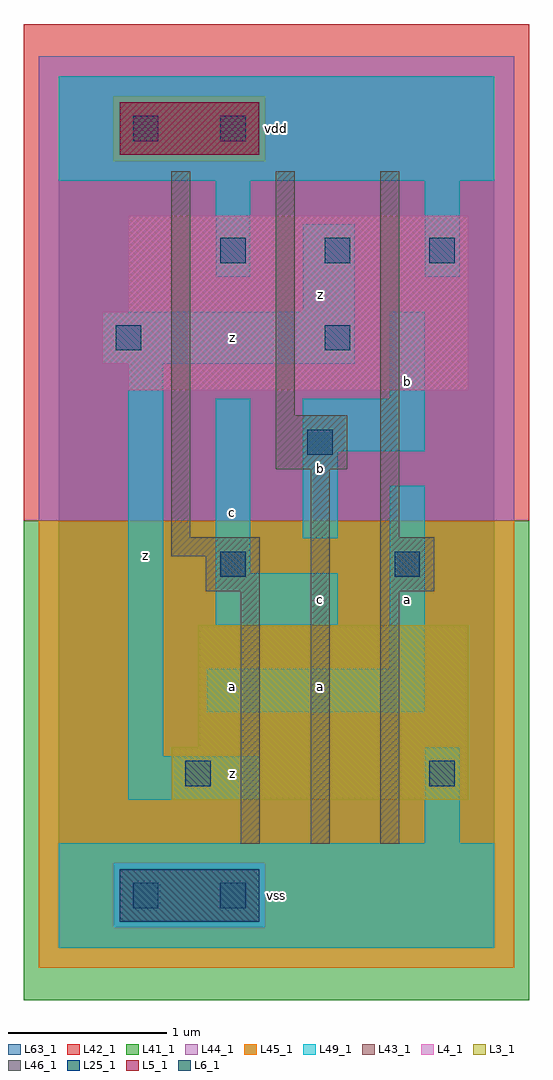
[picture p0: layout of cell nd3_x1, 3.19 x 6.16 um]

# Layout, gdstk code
import gdstk
lib = gdstk.Library(unit=1e-6, precision=1e-09)
def R(c, l, rs):  # rectangles x0, y0, x1, y1
    for r in rs: c.add(gdstk.rectangle(r[:2], r[2:], *l))
def A(c, l, x, y, w, h, nx, ny, dx, dy):  # array of equal rectangles
    R(c, l, [(x+i*dx, y+j*dy, x+i*dx+w, y+j*dy+h) for i in range(nx) for j in range(ny)])
L3_1 = (3, 1)
L4_1 = (4, 1)
L5_1 = (5, 1)
L6_1 = (6, 1)
L25_1 = (25, 1)
L41_1 = (41, 1)
L42_1 = (42, 1)
L43_1 = (43, 1)
L44_1 = (44, 1)
L45_1 = (45, 1)
L46_1 = (46, 1)
L49_1 = (49, 1)
L63_1 = (63, 1)

nd3_x1 = lib.new_cell('nd3_x1')
R(nd3_x1, L3_1, [(0.715,0.935,2.585,1.265), (0.88,1.265,2.585,2.035)])
R(nd3_x1, L4_1, [(0.44,3.52,2.585,3.685), (0.275,3.685,2.585,4.015), (0.44,4.015,2.585,4.62)])
R(nd3_x1, L5_1, [(0.385,5.005,1.265,5.335)])
R(nd3_x1, L6_1, [(0.385,0.165,1.265,0.495)])
A(nd3_x1, L25_1, 1.02, 4.32, 0.16, 0.16, 3, 1, 0.66, 0)
R(nd3_x1, L25_1, [(0.47,0.25,0.63,0.41), (1.02,0.25,1.18,0.41), (0.8,1.02,0.96,1.18), (2.34,1.02,2.5,1.18), (1.02,2.34,1.18,2.5), (2.12,2.34,2.28,2.5), (1.57,3.11,1.73,3.27), (0.36,3.77,0.52,3.93), (1.68,3.77,1.84,3.93), (0.47,5.09,0.63,5.25), (1.02,5.09,1.18,5.25)])
R(nd3_x1, L41_1, [(-0.22,-0.33,2.97,2.695)])
R(nd3_x1, L42_1, [(-0.22,2.695,2.97,5.83)])
R(nd3_x1, L43_1, [(0.385,0.165,1.265,0.495), (0.715,0.935,2.585,1.265), (0.88,1.265,2.585,2.035), (0.44,3.52,2.585,3.685), (0.275,3.685,2.585,4.015), (0.44,4.015,2.585,4.62), (0.385,5.005,1.265,5.335)])
R(nd3_x1, L44_1, [(0.345,0.125,1.305,0.535), (-0.125,2.695,2.875,4.965), (-0.125,4.965,0.345,5.375), (1.305,4.965,2.875,5.375), (-0.125,5.375,2.875,5.625)])
R(nd3_x1, L45_1, [(-0.125,-0.125,2.875,0.125), (-0.125,0.125,0.345,0.535), (1.305,0.125,2.875,0.535), (-0.125,0.535,2.875,2.695), (0.345,4.965,1.305,5.375)])
R(nd3_x1, L46_1, [(1.15,0.655,1.27,2.25), (1.59,0.655,1.71,3.02), (2.03,0.655,2.15,2.25), (0.93,2.25,1.27,2.47), (2.03,2.25,2.37,2.59), (0.71,2.47,1.27,2.59), (0.71,2.59,0.83,4.9), (2.03,2.59,2.15,4.9), (1.37,3.02,1.82,3.36), (1.37,3.36,1.49,4.9)])
R(nd3_x1, L49_1, [(0,0,2.75,0.66), (2.31,0.66,2.53,1.265), (0.44,0.935,1.265,1.21), (0.44,1.21,0.66,3.685), (0.935,1.485,2.31,1.76), (2.09,1.76,2.31,2.915), (0.99,2.035,1.76,2.365), (0.99,2.365,1.21,3.465), (1.54,2.585,1.76,3.135), (1.54,3.135,2.31,3.465), (2.09,3.465,2.31,4.015), (0.275,3.685,1.87,4.015), (1.54,4.015,1.87,4.565), (0.99,4.235,1.21,4.84), (2.31,4.235,2.53,4.84), (0,4.84,2.75,5.5)])
R(nd3_x1, L63_1, [(0,0,2.75,5.5)])
nd3_x1.add(gdstk.Label('z', (0.55,2.475), layer=49, texttype=1))
nd3_x1.add(gdstk.Label('z', (0.55,2.475), layer=49, texttype=1))
nd3_x1.add(gdstk.Label('vss', (1.375,0.33), layer=49, texttype=1))
nd3_x1.add(gdstk.Label('vss', (1.375,0.33), layer=49, texttype=1))
nd3_x1.add(gdstk.Label('z', (1.1,1.1), layer=49, texttype=1))
nd3_x1.add(gdstk.Label('z', (1.1,1.1), layer=49, texttype=1))
nd3_x1.add(gdstk.Label('a', (1.1,1.65), layer=49, texttype=1))
nd3_x1.add(gdstk.Label('a', (1.1,1.65), layer=49, texttype=1))
nd3_x1.add(gdstk.Label('c', (1.1,2.75), layer=49, texttype=1))
nd3_x1.add(gdstk.Label('c', (1.1,2.75), layer=49, texttype=1))
nd3_x1.add(gdstk.Label('z', (1.1,3.85), layer=49, texttype=1))
nd3_x1.add(gdstk.Label('z', (1.1,3.85), layer=49, texttype=1))
nd3_x1.add(gdstk.Label('vdd', (1.375,5.17), layer=49, texttype=1))
nd3_x1.add(gdstk.Label('vdd', (1.375,5.17), layer=49, texttype=1))
nd3_x1.add(gdstk.Label('a', (1.65,1.65), layer=49, texttype=1))
nd3_x1.add(gdstk.Label('a', (1.65,1.65), layer=49, texttype=1))
nd3_x1.add(gdstk.Label('c', (1.65,2.2), layer=49, texttype=1))
nd3_x1.add(gdstk.Label('c', (1.65,2.2), layer=49, texttype=1))
nd3_x1.add(gdstk.Label('b', (1.65,3.025), layer=49, texttype=1))
nd3_x1.add(gdstk.Label('b', (1.65,3.025), layer=49, texttype=1))
nd3_x1.add(gdstk.Label('z', (1.65,4.125), layer=49, texttype=1))
nd3_x1.add(gdstk.Label('z', (1.65,4.125), layer=49, texttype=1))
nd3_x1.add(gdstk.Label('a', (2.2,2.2), layer=49, texttype=1))
nd3_x1.add(gdstk.Label('a', (2.2,2.2), layer=49, texttype=1))
nd3_x1.add(gdstk.Label('b', (2.2,3.575), layer=49, texttype=1))
nd3_x1.add(gdstk.Label('b', (2.2,3.575), layer=49, texttype=1))

lib.write_gds('nd3_x1.gds')
